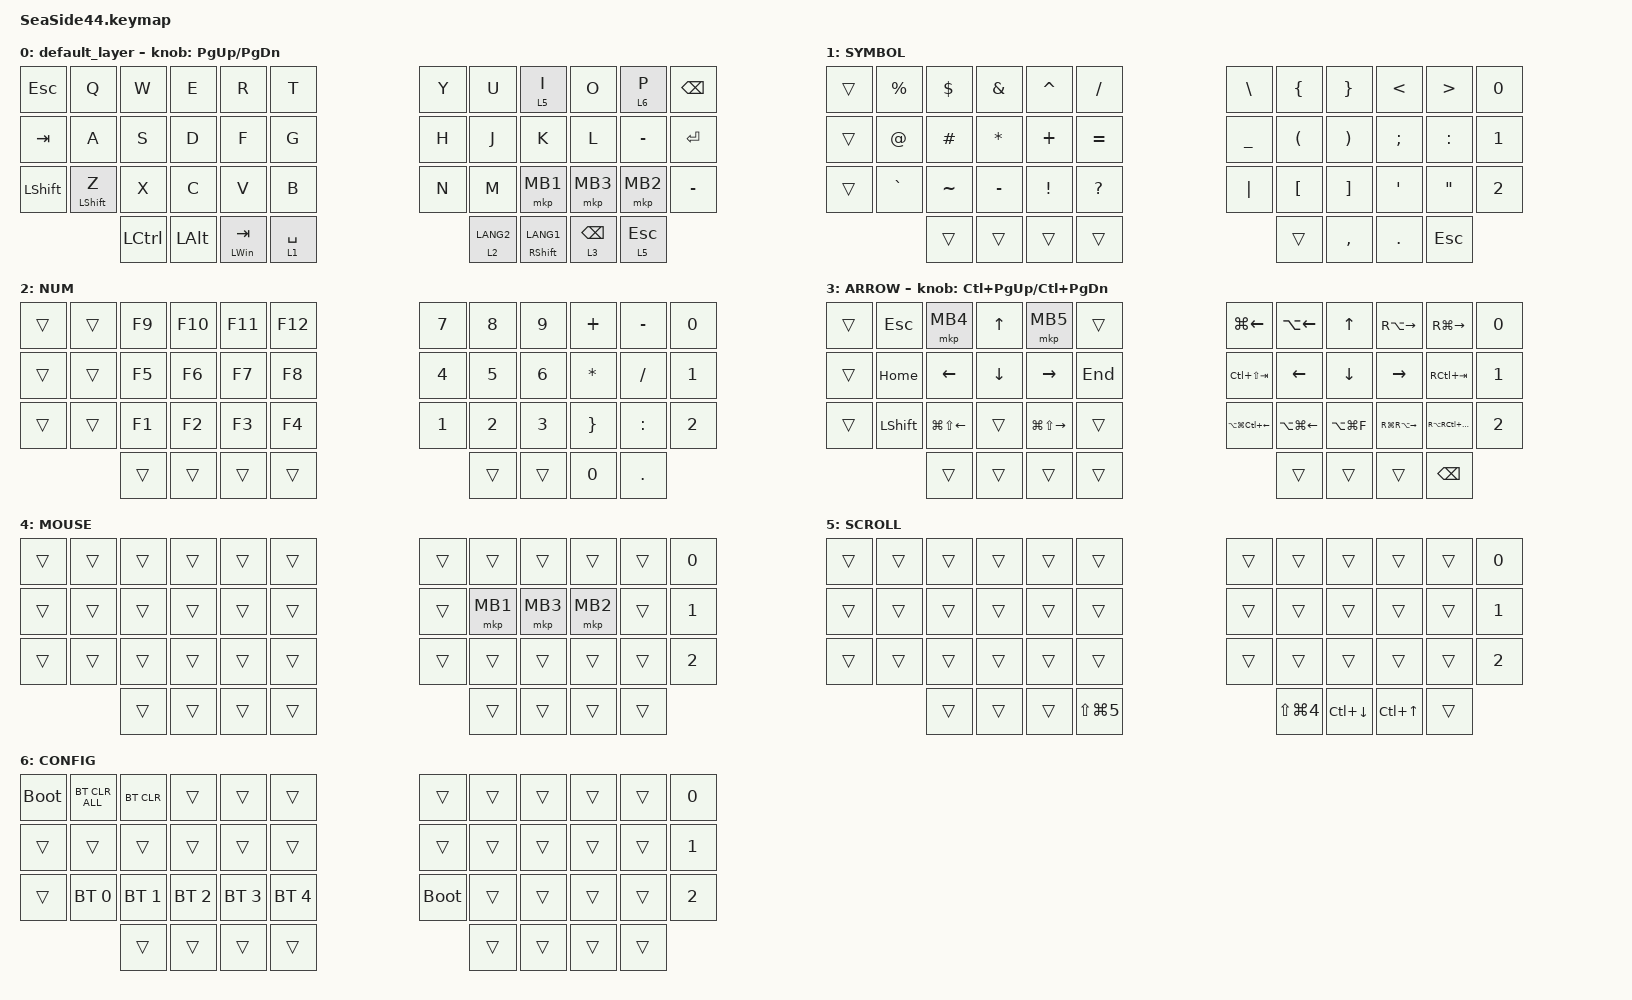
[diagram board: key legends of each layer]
#include <behaviors.dtsi>
#include <dt-bindings/zmk/bt.h>
#include <dt-bindings/zmk/keys.h>
#include <dt-bindings/zmk/pointing.h>

#define MOUSE 4
#define SCROLL 5
#define NUM 6

&mt {
    flavor = "balanced";
    quick-tap-ms = <300>;
};

&lt {
    flavor = "balanced";
    quick-tap-ms = <300>;
};

/ {
    combos { compatible = "zmk,combos"; };

    macros {
        to_layer_0: to_layer_0 {
            compatible = "zmk,behavior-macro-one-param";
            #binding-cells = <1>;
            bindings = <&to 0 &macro_param_1to1 &kp MACRO_PLACEHOLDER>;
            label = "TO_LAYER_0";
        };
    };

    behaviors {
        lt_to_layer_0: lt_to_layer_0 {
            compatible = "zmk,behavior-hold-tap";
            label = "LAYER_TAP_TO_0";
            bindings = <&mo>, <&to_layer_0>;

            #binding-cells = <2>;
            tapping-term-ms = <200>;
        };
    };

    keymap {
        compatible = "zmk,keymap";

        default_layer {
            bindings = <
&kp ESCAPE  &kp Q             &kp W      &kp E         &kp R             &kp T                                            &kp Y            &kp U  &lt 5 I   &kp O     &lt 6 P       &kp BACKSPACE
&kp TAB     &kp A             &kp S      &kp D         &kp F             &kp G                                            &kp H            &kp J  &kp K     &kp L     &kp MINUS     &kp ENTER
&kp LSHFT   &mt LEFT_SHIFT Z  &kp X      &kp C         &kp V             &kp B                                            &kp N            &kp M  &mkp MB1  &mkp MB3  &mkp MB2      &kp MINUS
                              &kp LCTRL  &kp LEFT_ALT  &mt LEFT_WIN TAB  &lt 1 SPACE  &lt 2 LANG2  &mt RIGHT_SHIFT LANG1  &lt 3 BACKSPACE                             &lt 5 ESCAPE
            >;

            sensor-bindings = <&inc_dec_kp PG_UP PAGE_DOWN>;
        };

        SYMBOL {
            bindings = <
&trans  &kp PRCNT  &kp DOLLAR  &kp AMPERSAND  &kp CARET        &kp FSLH                         &kp BSLH        &kp LEFT_BRACE        &kp RIGHT_BRACE        &kp LESS_THAN  &kp GREATER_THAN   &kp N0
&trans  &kp AT     &kp HASH    &kp ASTERISK   &kp PLUS         &kp EQUAL                        &kp UNDERSCORE  &kp LEFT_PARENTHESIS  &kp RIGHT_PARENTHESIS  &kp SEMI       &kp COLON          &kp N1
&trans  &kp GRAVE  &kp TILDE   &kp MINUS      &kp EXCLAMATION  &kp QUESTION                     &kp PIPE        &kp LBKT              &kp RBKT               &kp SQT        &kp DOUBLE_QUOTES  &kp N2
                   &trans      &trans         &trans           &trans        &trans  &kp COMMA  &kp PERIOD                                                                  &kp ESC
            >;
        };

        NUM {
            bindings = <
&trans  &trans  &kp F9  &kp F10  &kp F11  &kp F12                  &kp N7        &kp NUMBER_8  &kp NUMBER_9  &kp PLUS         &kp MINUS   &kp N0
&trans  &trans  &kp F5  &kp F6   &kp F7   &kp F8                   &kp NUMBER_4  &kp NUMBER_5  &kp NUMBER_6  &kp ASTERISK     &kp SLASH   &kp N1
&trans  &trans  &kp F1  &kp F2   &kp F3   &kp F4                   &kp NUMBER_1  &kp NUMBER_2  &kp NUMBER_3  &kp RIGHT_BRACE  &kp COLON   &kp N2
                &trans  &trans   &trans   &trans   &trans  &trans  &kp NUMBER_0                                               &kp PERIOD
            >;
        };

        ARROW {
            bindings = <
&trans  &kp ESCAPE      &mkp MB4                &kp UP_ARROW    &mkp MB5                 &trans                   &kp LG(LEFT_ARROW)          &kp LA(LEFT_ARROW)      &kp UP_ARROW    &kp RA(RIGHT_ARROW)      &kp RG(RIGHT_ARROW)          &kp N0
&trans  &kp HOME        &kp LEFT_ARROW          &kp DOWN_ARROW  &kp RIGHT_ARROW          &kp END                  &kp LC(LS(TAB))             &kp LEFT_ARROW          &kp DOWN_ARROW  &kp RIGHT_ARROW          &kp RC(TAB)                  &kp N1
&trans  &kp LEFT_SHIFT  &kp LG(LS(LEFT_ARROW))  &trans          &kp LG(LS(RIGHT_ARROW))  &trans                   &kp LA(LG(LC(LEFT_ARROW)))  &kp LA(LG(LEFT_ARROW))  &kp LA(LG(F))   &kp RG(RA(RIGHT_ARROW))  &kp RA(RC(RG(RIGHT_ARROW)))  &kp N2
                        &trans                  &trans          &trans                   &trans   &trans  &trans  &trans                                                                                       &kp BACKSPACE
            >;

            sensor-bindings = <&inc_dec_kp LC(PAGE_UP) LC(PAGE_DOWN)>;
        };

        MOUSE {
            bindings = <
&trans  &trans  &trans  &trans  &trans  &trans                  &trans  &trans    &trans    &trans    &trans  &kp N0
&trans  &trans  &trans  &trans  &trans  &trans                  &trans  &mkp MB1  &mkp MB3  &mkp MB2  &trans  &kp N1
&trans  &trans  &trans  &trans  &trans  &trans                  &trans  &trans    &trans    &trans    &trans  &kp N2
                &trans  &trans  &trans  &trans  &trans  &trans  &trans                                &trans
            >;
        };

        SCROLL {
            bindings = <
&trans  &trans  &trans  &trans     &trans  &trans                                        &trans            &trans  &trans  &trans  &trans  &kp N0
&trans  &trans  &trans  &trans     &trans  &trans                                        &trans            &trans  &trans  &trans  &trans  &kp N1
&trans  &trans  &trans  &trans     &trans  &trans                                        &trans            &trans  &trans  &trans  &trans  &kp N2
                &trans  &trans     &trans  &kp LS(LG(N5))  &kp LS(LG(N4))  &kp LC(DOWN)  &kp LC(UP_ARROW)                          &trans
            >;
        };

        CONFIG {
            bindings = <
&bootloader  &bt BT_CLR_ALL  &bt BT_CLR    &trans        &trans        &trans                        &trans       &trans  &trans  &trans  &trans  &kp N0
&trans  &trans          &trans        &trans        &trans        &trans                        &trans       &trans  &trans  &trans  &trans  &kp N1
&trans  &bt BT_SEL 0    &bt BT_SEL 1  &bt BT_SEL 2  &bt BT_SEL 3  &bt BT_SEL 4                  &bootloader  &trans  &trans  &trans  &trans  &kp N2
                        &trans        &trans        &trans        &trans        &trans  &trans  &trans                               &trans
            >;
        };

    };
};
